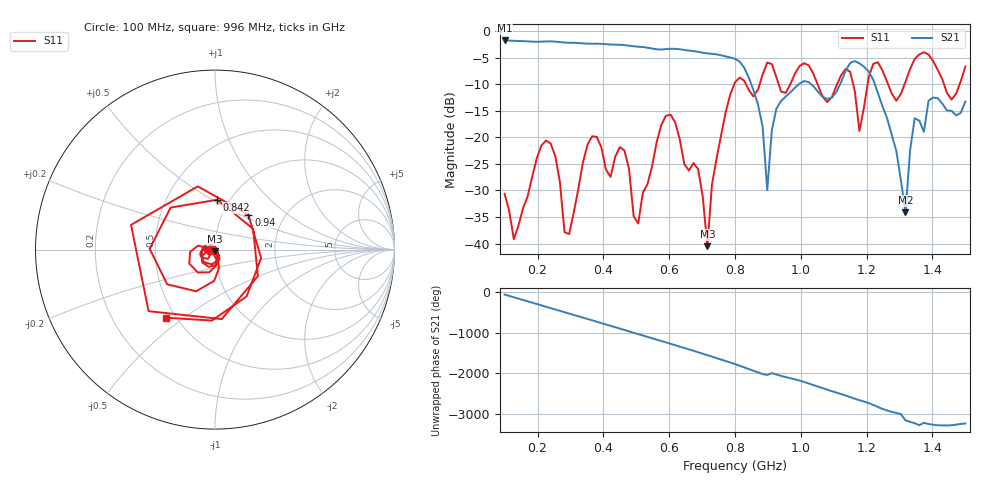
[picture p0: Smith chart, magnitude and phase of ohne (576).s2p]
! NanoVNA-App
! Date: 2025-09-25 14:25:17
! Start: 100MHz Stop: 1,5GHz Points: 101
! S-Parameter data: F S11 S21 S12 S22
# Hz S RI R 50
!  Frequency  S11_Real  S11_Imag  S21_Real  S21_Imag  S12_Real  S12_Imag  S22_Real  S22_Imag
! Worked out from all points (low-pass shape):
!   101 points, 100 MHz to 1.5 GHz, reference 50 ohm
!   highest |S21| = -1.79 dB at 100 MHz (marker M1); lowest = -34.1 dB at 1.318 GHz (marker M2)
!   |S21| within 3 dB of the highest: start of sweep to 772.3 MHz
!   lowest |S11| = -40.5 dB at 716 MHz (marker M3), VSWR 1.02, Z = 49.9 - j0.937 ohm
!   |S11| at or under -10 dB: start of sweep to 797.8 MHz; 833.1 MHz to 875.1 MHz (41.94 MHz wide, 4.91 % of centre); 1.051 GHz to 1.11 GHz (59.73 MHz wide, 5.53 % of centre) (the widest 3 of 7)
!   S12 and S22 are empty: the file has one direction only
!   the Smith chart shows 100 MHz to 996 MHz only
!   S11 on the Smith chart (normalised r, x): 100 MHz: 0.94, -0.01; 842 MHz: 0.88, +0.53; 940 MHz: 1.32, +0.56; 996 MHz: 0.44, -0.43
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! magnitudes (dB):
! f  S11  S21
! 100 MHz  -30.6  -1.8
! 128 MHz  -39.2  -1.9
! 226 MHz  -20.6  -2.0
! 296 MHz  -38.2  -2.2
! 338 MHz  -24.7  -2.3
! 464 MHz  -22.5  -2.7
! 506 MHz  -36.2  -3.0
! 576 MHz  -17.7  -3.5
! 688 MHz  -26.0  -3.9
! 716 MHz  -40.5  -4.2
! 800 MHz  -9.7  -5.3
! 842 MHz  -11.1  -8.8
! 898 MHz  -5.9  -29.9
! 940 MHz  -11.4  -13.2
! 996 MHz  -6.6  -9.9
! 1.038 GHz  -8.0  -10.4
! 1.178 GHz  -18.8  -6.1
! 1.22 GHz  -6.2  -9.2
! 1.276 GHz  -11.7  -19.5
! 1.318 GHz  -9.6  -34.1
! 1.346 GHz  -5.3  -16.4
! 1.5 GHz  -6.7  -13.3
